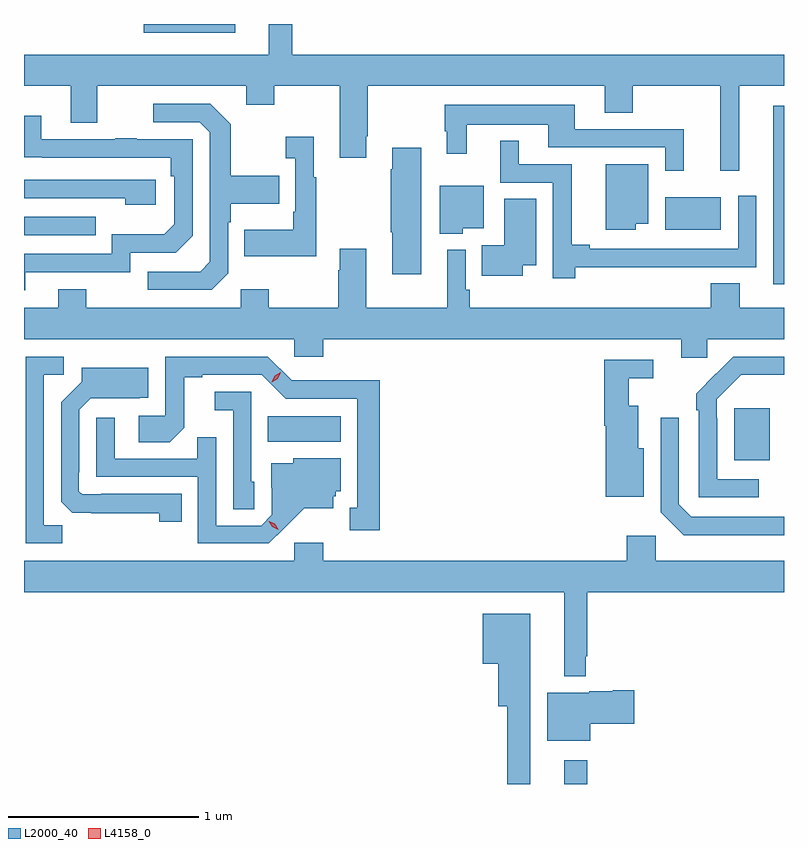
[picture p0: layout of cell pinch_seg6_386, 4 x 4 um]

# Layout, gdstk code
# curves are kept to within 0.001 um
import gdstk
lib = gdstk.Library(unit=1e-6, precision=1e-09)
def R(c, l, rs):  # rectangles x0, y0, x1, y1
    for r in rs: c.add(gdstk.rectangle(r[:2], r[2:], *l))
def P(c, l, *ps):  # polygons
    for p in ps: c.add(gdstk.Polygon(p, *l))
L2000_40 = (2000, 40)
L4158_0 = (4158, 0)

pinch_seg6_386 = lib.new_cell('pinch_seg6_386')
R(pinch_seg6_386, L2000_40, [(641.537,926.346,641.659,926.47), (642.431,928.049,642.619,928.324), (639.976,928.148,640.36,928.282), (642.638,928.977,642.694,929.917), (638.694,929.235,639.071,929.331), (642.068,929.264,642.361,929.434), (639.324,930.299,639.805,930.346)])
P(pinch_seg6_386, L2000_40, [(642.458,930.02),(642.694,930.02),(642.694,930.184),(640.105,930.184),(640.105,930.346),(639.983,930.346),(639.983,930.184),(638.694,930.184),(638.694,930.02),(638.939,930.02),(638.939,929.826),(639.079,929.826),(639.079,930.02),(639.863,930.02),(639.863,929.921),(640.011,929.921),(640.011,930.02),(640.355,930.02),(640.355,929.643),(640.495,929.643),(640.495,929.755),(640.503,929.755),(640.503,930.02),(641.75,930.02),(641.75,929.878),(641.898,929.878),(641.898,930.02),(642.359,930.02),(642.359,929.574),(642.458,929.574)],
  [(639.768,929.034),(639.768,929.303),(639.781,929.303),(639.781,929.399),(640.037,929.399),(640.037,929.547),(639.781,929.547),(639.781,929.819),(639.675,929.925),(639.375,929.925),(639.375,929.829),(639.618,929.829),(639.672,929.775),(639.672,929.094),(639.621,929.043),(639.345,929.043),(639.345,928.947),(639.681,928.947)],
  [(642.167,929.793),(641.593,929.793),(641.593,929.92),(640.909,929.92),(640.909,929.782),(640.919,929.782),(640.919,929.664),(641.023,929.664),(641.023,929.816),(641.453,929.816),(641.453,929.697),(642.069,929.697),(642.069,929.574),(642.167,929.574)],
  [(638.701,929.04),(639.252,929.04),(639.252,929.142),(639.492,929.142),(639.582,929.232),(639.582,929.739),(639.287,929.739),(639.287,929.744),(639.175,929.744),(639.175,929.739),(638.785,929.739),(638.785,929.863),(638.694,929.863),(638.694,929.644),(639.466,929.643),(639.466,929.546),(639.486,929.546),(639.486,929.292),(639.433,929.239),(639.156,929.239),(639.156,929.136),(638.694,929.136),(638.694,928.944),(638.701,928.944)],
  [(640.231,929.539),(640.219,929.539),(640.219,929.752),(640.071,929.752),(640.071,929.639),(640.122,929.639),(640.122,929.359),(640.11,929.359),(640.11,929.263),(639.853,929.263),(639.853,929.123),(640.231,929.123)],
  [(641.594,929.066),(642.224,929.066),(642.224,929.067),(642.549,929.067),(642.549,929.443),(642.453,929.443),(642.453,929.163),(641.671,929.163),(641.671,929.183),(641.576,929.183),(641.576,929.607),(641.299,929.607),(641.299,929.731),(641.201,929.731),(641.201,929.511),(641.478,929.511),(641.478,929.007),(641.594,929.007)],
  [(640.786,929.695),(640.631,929.695),(640.631,929.582),(640.624,929.582),(640.624,929.251),(640.631,929.251),(640.631,929.028),(640.786,929.028)],
  [(641.914,929.294),(641.98,929.294),(641.98,929.608),(641.756,929.608),(641.756,929.264),(641.914,929.264)],
  [(639.388,929.526),(638.694,929.526),(638.694,929.43),(639.227,929.43),(639.227,929.396),(639.388,929.396)],
  [(641.004,929.27),(641.113,929.27),(641.113,929.494),(640.883,929.494),(640.883,929.243),(641.004,929.243)],
  [(641.32,929.075),(641.389,929.075),(641.389,929.426),(641.222,929.426),(641.222,929.182),(641.104,929.182),(641.104,929.021),(641.32,929.021)],
  [(642.291,928.688),(642.694,928.688),(642.694,928.852),(642.46,928.852),(642.46,928.982),(642.308,928.982),(642.308,928.852),(641.039,928.852),(641.039,928.948),(641.019,928.948),(641.019,929.158),(640.922,929.158),(640.922,928.852),(640.495,928.852),(640.495,929.164),(640.355,929.164),(640.355,929.051),(640.348,929.051),(640.348,928.852),(639.981,928.852),(639.981,928.951),(639.834,928.951),(639.834,928.852),(639.021,928.852),(639.021,928.951),(638.873,928.951),(638.873,928.852),(638.694,928.852),(638.694,928.688),(640.116,928.688),(640.116,928.595),(640.268,928.595),(640.268,928.688),(642.152,928.688),(642.152,928.59),(642.291,928.59)],
  [(642.562,927.951),(642.342,927.951),(642.342,928.271),(642.339,928.271),(642.339,928.371),(642.468,928.5),(642.694,928.5),(642.694,928.596),(642.428,928.596),(642.231,928.401),(642.231,928.313),(642.246,928.313),(642.246,927.855),(642.562,927.855)],
  [(638.895,927.707),(638.799,927.707),(638.799,928.5),(638.902,928.5),(638.902,928.596),(638.703,928.596),(638.703,927.612),(638.895,927.612)],
  [(640.567,928.472),(640.326,928.472),(640.326,928.47),(640.104,928.47),(639.978,928.596),(639.438,928.596),(639.438,928.284),(639.297,928.284),(639.297,928.144),(639.461,928.144),(639.537,928.22),(639.537,928.488),(639.631,928.488),(639.631,928.5),(639.945,928.5),(640.071,928.374),(640.448,928.374),(640.448,927.801),(640.409,927.801),(640.409,927.681),(640.567,927.681)],
  [(641.956,928.114),(641.926,928.114),(641.926,928.336),(641.878,928.336),(641.878,928.481),(642.007,928.481),(642.007,928.578),(641.749,928.578),(641.749,928.232),(641.756,928.232),(641.756,927.857),(641.956,927.857)],
  [(639.524,927.873),(639.1,927.873),(639.1,927.87),(639,927.87),(638.982,927.888),(638.982,927.988),(638.985,927.988),(638.985,928.317),(639.045,928.377),(639.302,928.376),(639.305,928.379),(639.349,928.379),(639.349,928.537),(638.999,928.537),(638.999,928.464),(638.889,928.354),(638.889,927.832),(638.948,927.773),(639.406,927.772),(639.406,927.726),(639.524,927.726)],
  [(639.906,927.936),(639.891,927.936),(639.891,928.41),(639.699,928.41),(639.699,928.313),(639.795,928.313),(639.795,927.793),(639.906,927.793)],
  [(642.694,927.753),(642.207,927.753),(642.141,927.819),(642.141,928.273),(642.045,928.273),(642.045,927.777),(642.166,927.656),(642.694,927.656)],
  [(640.066,927.695),(640.169,927.797),(640.321,927.797),(640.321,927.861),(640.335,927.861),(640.335,927.888),(640.36,927.888),(640.36,928.06),(640.11,928.06),(640.11,928.033),(639.995,928.033),(639.995,927.904),(639.999,927.904),(639.999,927.762),(639.942,927.705),(639.705,927.705),(639.705,928.172),(639.607,928.172),(639.607,928.059),(639.171,928.059),(639.171,928.273),(639.075,928.273),(639.075,927.963),(639.609,927.963),(639.609,927.612),(639.982,927.612)],
  [(641.651,927.019),(641.659,927.019),(641.659,927.356),(642.694,927.356),(642.694,927.52),(642.018,927.52),(642.018,927.652),(641.867,927.652),(641.867,927.52),(640.268,927.52),(640.268,927.616),(640.116,927.616),(640.116,927.52),(638.694,927.52),(638.694,927.356),(641.537,927.356),(641.537,926.912),(641.651,926.912)],
  [(641.359,927.241),(641.108,927.241),(641.108,926.978),(641.189,926.978),(641.189,926.756),(641.238,926.756),(641.238,926.346),(641.359,926.346)],
  [(641.674,926.662),(641.905,926.662),(641.905,926.84),(641.792,926.84),(641.792,926.833),(641.67,926.833),(641.67,926.827),(641.447,926.827),(641.447,926.573),(641.674,926.573)])
P(pinch_seg6_386, L4158_0, [(639.997,928.461),(639.997,928.461),(640.014,928.494),(640.046,928.513),(640.046,928.513),(640.046,928.513),(640.029,928.48),(639.998,928.461)],
  [(640.031,927.685),(640.001,927.7),(639.983,927.729),(639.983,927.729),(639.984,927.729),(640.014,927.715),(640.032,927.686),(640.032,927.685)])

lib.write_gds('pinch_seg6_386.gds')
